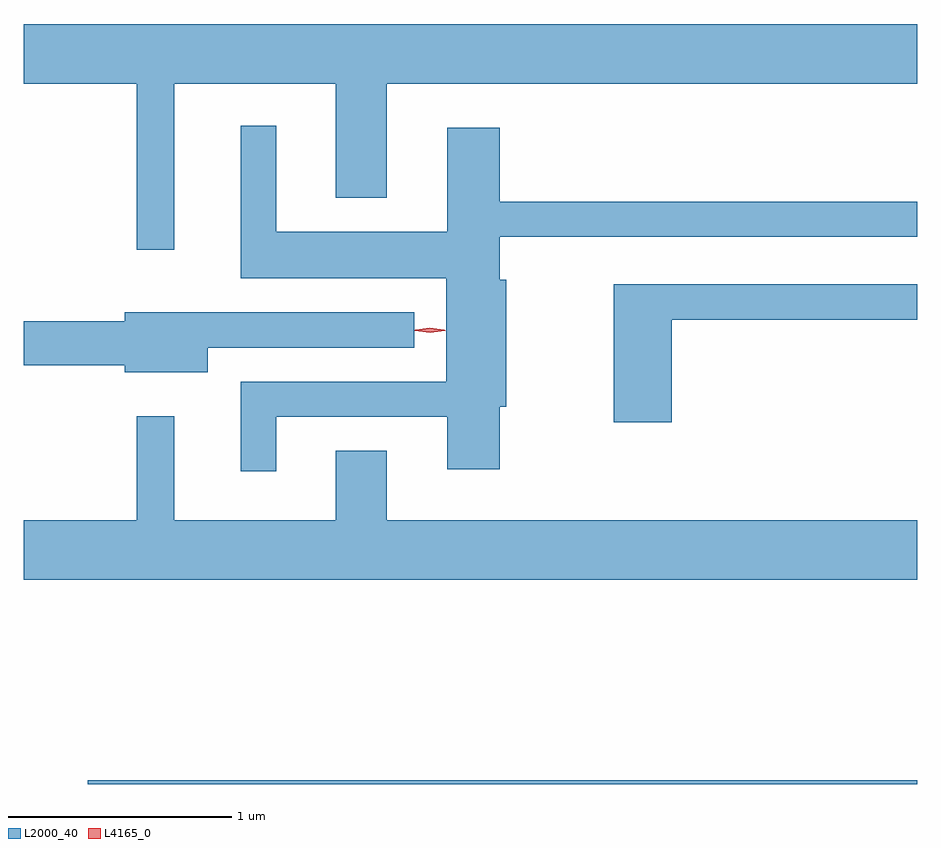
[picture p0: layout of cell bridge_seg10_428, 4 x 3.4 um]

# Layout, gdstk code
import gdstk
lib = gdstk.Library(unit=1e-6, precision=1e-09)
def R(c, l, rs):  # rectangles x0, y0, x1, y1
    for r in rs: c.add(gdstk.rectangle(r[:2], r[2:], *l))
def P(c, l, *ps):  # polygons
    for p in ps: c.add(gdstk.Polygon(p, *l))
L2000_40 = (2000, 40)
L4165_0 = (4165, 0)

bridge_seg10_428 = lib.new_cell('bridge_seg10_428')
R(bridge_seg10_428, L2000_40, [(1377.671,2110.783,1381.384,2110.799)])
P(bridge_seg10_428, L2000_40, [(1378.059,2113.916),(1378.781,2113.916),(1378.781,2113.406),(1379.009,2113.406),(1379.009,2113.916),(1381.384,2113.916),(1381.384,2114.184),(1377.384,2114.184),(1377.384,2113.916),(1377.891,2113.916),(1377.891,2113.173),(1378.059,2113.173)],
  [(1378.514,2112.426),(1379.281,2112.426),(1379.281,2112.191),(1379.514,2112.191),(1379.514,2112.471),(1379.544,2112.471),(1379.544,2113.039),(1379.514,2113.039),(1379.514,2113.231),(1381.384,2113.231),(1381.384,2113.389),(1379.514,2113.389),(1379.514,2113.719),(1379.281,2113.719),(1379.281,2113.254),(1378.514,2113.254),(1378.514,2113.728),(1378.356,2113.728),(1378.356,2113.046),(1379.276,2113.046),(1379.276,2112.584),(1378.356,2112.584),(1378.356,2112.183),(1378.514,2112.183)],
  [(1380.284,2112.861),(1381.384,2112.861),(1381.384,2113.019),(1380.026,2113.019),(1380.026,2112.401),(1380.284,2112.401)],
  [(1378.209,2112.736),(1379.133,2112.736),(1379.133,2112.894),(1377.836,2112.894),(1377.836,2112.854),(1377.384,2112.854),(1377.384,2112.656),(1377.836,2112.656),(1377.836,2112.626),(1378.209,2112.626)],
  [(1381.384,2111.964),(1379.009,2111.964),(1379.009,2112.274),(1378.781,2112.274),(1378.781,2111.964),(1378.059,2111.964),(1378.059,2112.428),(1377.891,2112.428),(1377.891,2111.964),(1377.384,2111.964),(1377.384,2111.696),(1381.384,2111.696)])
P(bridge_seg10_428, L4165_0, [(1379.202,2112.805),(1379.138,2112.814),(1379.137,2112.815),(1379.138,2112.816),(1379.202,2112.825),(1379.267,2112.816),(1379.267,2112.815),(1379.267,2112.814)],
  [(1379.203,2112.803),(1379.134,2112.812),(1379.134,2112.813),(1379.134,2112.814),(1379.203,2112.823),(1379.271,2112.814),(1379.272,2112.813),(1379.271,2112.812)])

lib.write_gds('bridge_seg10_428.gds')
